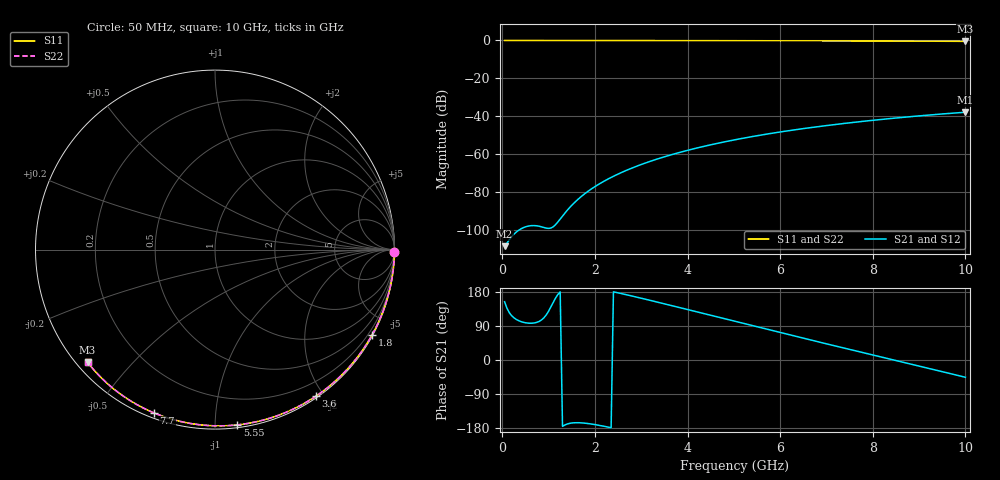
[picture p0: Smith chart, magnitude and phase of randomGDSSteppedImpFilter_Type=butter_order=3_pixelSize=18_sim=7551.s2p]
! freq	dB(S11)	phase(S11)	dB(S12)	phase(S12)
!  dB(S21)	phase(S21)	dB(S22)	phase(S22)
!S-par simulation data
#  GHz  S  DB  R 50
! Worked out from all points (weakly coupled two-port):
!   200 points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, 50 MHz to 10 GHz, reference 50 ohm
!   highest |S21| = -37.87 dB at 10 GHz (marker M1); lowest = -108.5 dB at 50 MHz (marker M2)
!   lowest |S11| = -0.5 dB at 10 GHz (marker M3), VSWR 37.38, Z = 1.53 - j18.9 ohm
!   |S11| at or under -10 dB: nowhere
!   |S22| runs from -0.5 to 0.0 dB; largest |S21 - S12| = 0
!   S11 on the Smith chart (normalised r, x): 50 MHz: open; 1.8 GHz: 0.03, -3.95; 3.6 GHz: 0.02, -1.90; 5.55 GHz: 0.02, -1.13; 7.7 GHz: 0.02, -0.69; 10 GHz: 0.03, -0.38
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0.05  -0.00 -0.8  -108.51 153.6  -108.51 153.6  -0.00 -0.8
0.45  -0.01 -7.2  -98.80 99.6  -98.80 99.6  -0.01 -7.2
0.9  -0.02 -14.3  -98.68 111.5  -98.68 111.5  -0.02 -14.3
1.75  -0.04 -27.6  -81.43 -166.3  -81.43 -166.3  -0.04 -27.6
1.8  -0.04 -28.4  -80.48 -166.9  -80.48 -166.9  -0.04 -28.4
1.85  -0.04 -29.2  -79.58 -167.6  -79.58 -167.6  -0.04 -29.2
2.05  -0.04 -32.3  -76.33 -171.5  -76.33 -171.5  -0.04 -32.3
2.25  -0.05 -35.3  -73.52 -176.2  -73.52 -176.2  -0.05 -35.3
2.55  -0.05 -39.9  -69.91 175.9  -69.91 175.9  -0.05 -39.9
2.95  -0.06 -45.9  -65.88 164.5  -65.88 164.5  -0.06 -45.9
3.4  -0.07 -52.6  -62.12 151.2  -62.12 151.2  -0.07 -52.6
3.6  -0.07 -55.5  -60.63 145.2  -60.63 145.2  -0.07 -55.5
3.9  -0.08 -59.8  -58.59 136.2  -58.59 136.2  -0.08 -59.8
4.3  -0.09 -65.6  -56.15 124.1  -56.15 124.1  -0.09 -65.6
5.05  -0.12 -76.0  -52.26 101.3  -52.26 101.3  -0.12 -76.0
5.55  -0.14 -82.8  -50.05 86.1  -50.05 86.1  -0.14 -82.8
6.1  -0.16 -90.1  -47.90 69.5  -47.90 69.5  -0.16 -90.1
6.7  -0.19 -97.9  -45.84 51.6  -45.84 51.6  -0.19 -97.9
7.7  -0.25 -110.5  -42.90 22.0  -42.90 22.0  -0.25 -110.5
8.35  -0.30 -118.5  -41.26 3.0  -41.26 3.0  -0.30 -118.5
9.2  -0.38 -128.9  -39.37 -21.8  -39.37 -21.8  -0.38 -128.9
10  -0.46 -138.5  -37.87 -45.6  -37.87 -45.6  -0.46 -138.5
